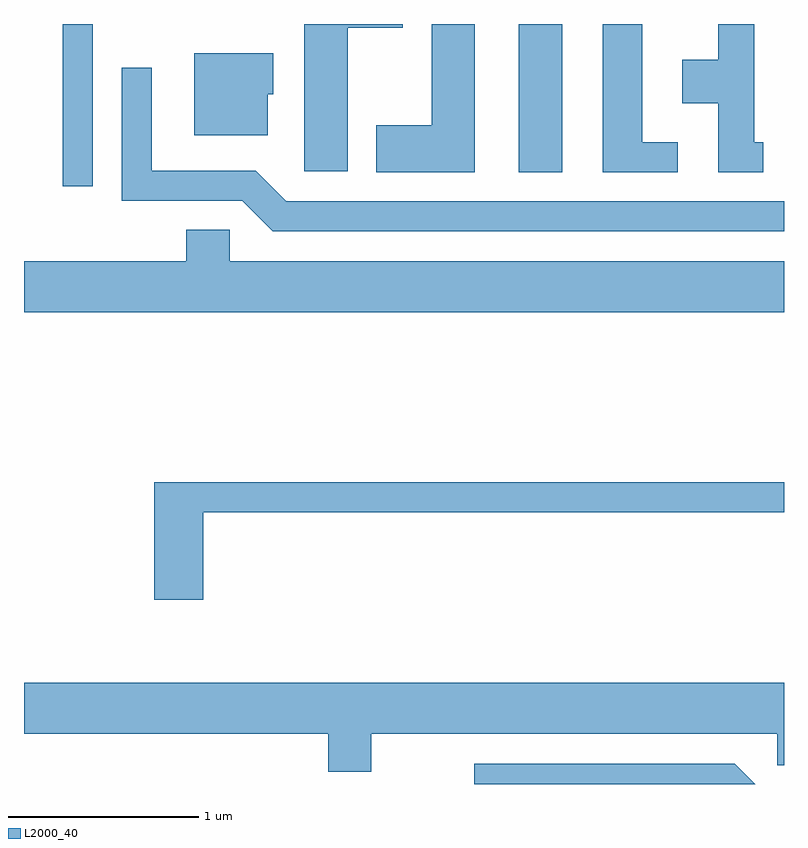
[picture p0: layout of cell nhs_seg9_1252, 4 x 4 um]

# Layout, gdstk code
import gdstk
lib = gdstk.Library(unit=1e-6, precision=1e-09)
def R(c, l, rs):  # rectangles x0, y0, x1, y1
    for r in rs: c.add(gdstk.rectangle(r[:2], r[2:], *l))
def P(c, l, *ps):  # polygons
    for p in ps: c.add(gdstk.Polygon(p, *l))
L2000_40 = (2000, 40)

nhs_seg9_1252 = lib.new_cell('nhs_seg9_1252')
R(nhs_seg9_1252, L2000_40, [(221.816,2003.578,221.974,2004.432), (224.216,2003.651,224.444,2004.432)])
P(nhs_seg9_1252, L2000_40, [(225.053,2003.809),(224.864,2003.809),(224.864,2004.432),(224.656,2004.432),(224.656,2003.651),(225.053,2003.651)],
  [(223.314,2004.411),(223.604,2004.411),(223.604,2004.432),(222.836,2004.432),(222.836,2004.431),(223.086,2004.431),(223.086,2003.656),(223.314,2003.656)],
  [(225.503,2003.809),(225.454,2003.809),(225.454,2004.432),(225.266,2004.432),(225.266,2004.244),(225.076,2004.244),(225.076,2004.016),(225.266,2004.016),(225.266,2003.651),(225.503,2003.651)],
  [(223.984,2004.432),(223.756,2004.432),(223.756,2003.899),(223.466,2003.899),(223.466,2003.651),(223.984,2003.651)],
  [(222.894,2004.061),(222.924,2004.061),(222.924,2004.279),(222.506,2004.279),(222.506,2003.846),(222.894,2003.846)],
  [(225.611,2003.499),(222.992,2003.499),(222.832,2003.659),(222.284,2003.659),(222.284,2004.203),(222.126,2004.203),(222.126,2003.501),(222.759,2003.501),(222.919,2003.341),(225.611,2003.341)],
  [(225.611,2003.184),(222.694,2003.184),(222.694,2003.349),(222.466,2003.349),(222.466,2003.184),(221.611,2003.184),(221.611,2002.916),(225.611,2002.916)],
  [(222.554,2001.861),(225.611,2001.861),(225.611,2002.019),(222.296,2002.019),(222.296,2001.401),(222.554,2001.401)],
  [(223.439,2000.696),(225.576,2000.696),(225.576,2000.531),(225.611,2000.531),(225.611,2000.964),(221.611,2000.964),(221.611,2000.696),(223.211,2000.696),(223.211,2000.496),(223.439,2000.496)],
  [(225.352,2000.539),(223.981,2000.539),(223.981,2000.432),(225.459,2000.432)])

lib.write_gds('nhs_seg9_1252.gds')
